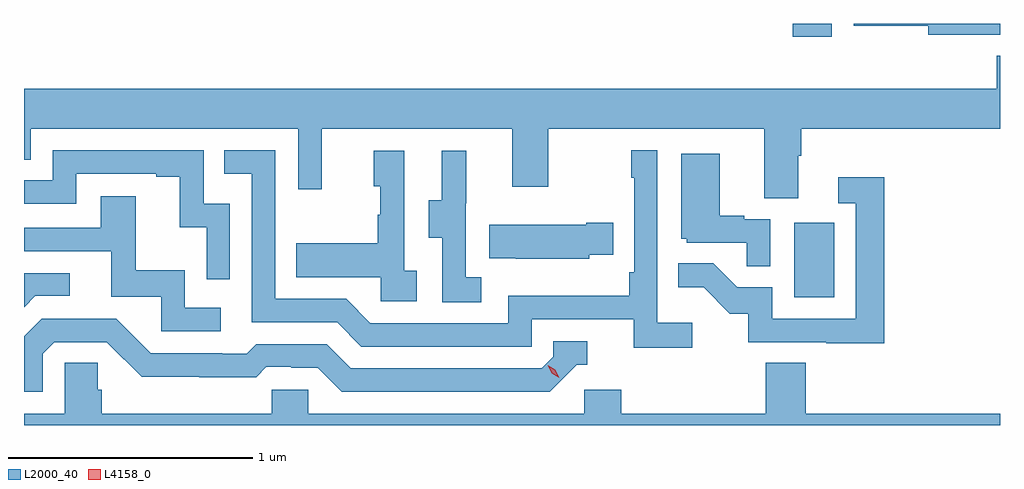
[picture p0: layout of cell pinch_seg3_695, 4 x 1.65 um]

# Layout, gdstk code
import gdstk
lib = gdstk.Library(unit=1e-6, precision=1e-09)
def R(c, l, rs):  # rectangles x0, y0, x1, y1
    for r in rs: c.add(gdstk.rectangle(r[:2], r[2:], *l))
def P(c, l, *ps):  # polygons
    for p in ps: c.add(gdstk.Polygon(p, *l))
L2000_40 = (2000, 40)
L4158_0 = (4158, 0)

pinch_seg3_695 = lib.new_cell('pinch_seg3_695')
R(pinch_seg3_695, L2000_40, [(1118.63,666.924,1118.794,667.231), (1118.624,667.992,1118.785,668.046)])
P(pinch_seg3_695, L2000_40, [(1119.474,668.046),(1118.874,668.046),(1118.874,668.038),(1119.179,668.038),(1119.179,668),(1119.474,668)],
  [(1118.647,667.504),(1118.66,667.504),(1118.66,667.616),(1119.474,667.616),(1119.474,667.915),(1119.461,667.915),(1119.461,667.78),(1115.474,667.78),(1115.474,667.489),(1115.502,667.489),(1115.502,667.616),(1116.597,667.616),(1116.597,667.368),(1116.695,667.368),(1116.695,667.616),(1117.475,667.616),(1117.475,667.377),(1117.623,667.377),(1117.623,667.616),(1118.507,667.616),(1118.507,667.33),(1118.647,667.33)],
  [(1118.212,666.82),(1118.07,666.82),(1118.07,667.528),(1117.962,667.528),(1117.962,667.415),(1117.974,667.415),(1117.974,667.027),(1117.954,667.027),(1117.954,666.931),(1117.458,666.931),(1117.458,666.819),(1116.894,666.819),(1116.795,666.918),(1116.504,666.918),(1116.504,667.527),(1116.295,667.527),(1116.295,667.431),(1116.408,667.431),(1116.408,666.822),(1116.758,666.822),(1116.857,666.723),(1117.554,666.723),(1117.554,666.834),(1117.973,666.834),(1117.973,666.718),(1118.212,666.718)],
  [(1116.318,667.308),(1116.21,667.308),(1116.21,667.527),(1115.592,667.527),(1115.592,667.404),(1115.474,667.404),(1115.474,667.308),(1115.688,667.308),(1115.688,667.431),(1116.017,667.431),(1116.017,667.419),(1116.113,667.419),(1116.113,667.211),(1116.222,667.211),(1116.222,666.999),(1116.318,666.999)],
  [(1117.348,667.007),(1117.284,667.007),(1117.284,667.311),(1117.286,667.311),(1117.286,667.525),(1117.187,667.525),(1117.187,667.323),(1117.133,667.323),(1117.133,667.168),(1117.188,667.168),(1117.188,666.904),(1117.348,666.904)],
  [(1117.084,667.034),(1117.032,667.034),(1117.032,667.525),(1116.908,667.525),(1116.908,667.38),(1116.934,667.38),(1116.934,667.262),(1116.924,667.262),(1116.924,667.147),(1116.589,667.147),(1116.589,667.007),(1116.936,667.007),(1116.936,666.909),(1117.084,666.909)],
  [(1118.532,667.245),(1118.426,667.245),(1118.426,667.258),(1118.326,667.258),(1118.326,667.513),(1118.168,667.513),(1118.168,667.164),(1118.19,667.164),(1118.19,667.149),(1118.437,667.149),(1118.437,667.051),(1118.532,667.051)],
  [(1118.999,667.417),(1118.811,667.417),(1118.811,667.311),(1118.883,667.311),(1118.883,666.837),(1118.541,666.837),(1118.541,666.966),(1118.397,666.966),(1118.299,667.064),(1118.155,667.064),(1118.155,666.965),(1118.259,666.965),(1118.366,666.858),(1118.443,666.858),(1118.443,666.741),(1118.761,666.741),(1118.761,666.736),(1118.999,666.736)],
  [(1116.28,666.882),(1116.132,666.882),(1116.132,667.036),(1115.933,667.036),(1115.933,667.339),(1115.789,667.339),(1115.789,667.209),(1115.474,667.209),(1115.474,667.113),(1115.831,667.113),(1115.831,666.927),(1116.036,666.927),(1116.036,666.786),(1116.28,666.786)],
  [(1117.791,667.1),(1117.889,667.1),(1117.889,667.23),(1117.778,667.23),(1117.778,667.222),(1117.381,667.222),(1117.381,667.085),(1117.489,667.085),(1117.489,667.082),(1117.791,667.082)],
  [(1115.52,666.93),(1115.662,666.93),(1115.662,667.023),(1115.474,667.023),(1115.474,666.884)],
  [(1115.55,666.693),(1115.598,666.741),(1115.814,666.741),(1115.956,666.599),(1116.192,666.599),(1116.192,666.597),(1116.425,666.597),(1116.467,666.639),(1116.57,666.639),(1116.57,666.636),(1116.677,666.636),(1116.776,666.537),(1117.629,666.537),(1117.74,666.648),(1117.783,666.648),(1117.783,666.744),(1117.644,666.744),(1117.644,666.681),(1117.596,666.633),(1116.813,666.633),(1116.714,666.732),(1116.425,666.732),(1116.386,666.693),(1116.287,666.693),(1116.287,666.696),(1115.994,666.696),(1115.853,666.837),(1115.547,666.837),(1115.474,666.764),(1115.474,666.537),(1115.55,666.537)],
  [(1119.474,666.448),(1118.678,666.448),(1118.678,666.656),(1118.513,666.656),(1118.513,666.448),(1117.922,666.448),(1117.922,666.546),(1117.77,666.546),(1117.77,666.448),(1116.639,666.448),(1116.639,666.546),(1116.489,666.546),(1116.489,666.448),(1115.792,666.448),(1115.792,666.546),(1115.777,666.546),(1115.777,666.656),(1115.64,666.656),(1115.64,666.448),(1115.474,666.448),(1115.474,666.4),(1119.474,666.4)])
P(pinch_seg3_695, L4158_0, [(1117.667,666.595),(1117.636,666.614),(1117.62,666.647),(1117.62,666.647),(1117.62,666.647),(1117.651,666.628),(1117.668,666.595),(1117.668,666.595)])

lib.write_gds('pinch_seg3_695.gds')
